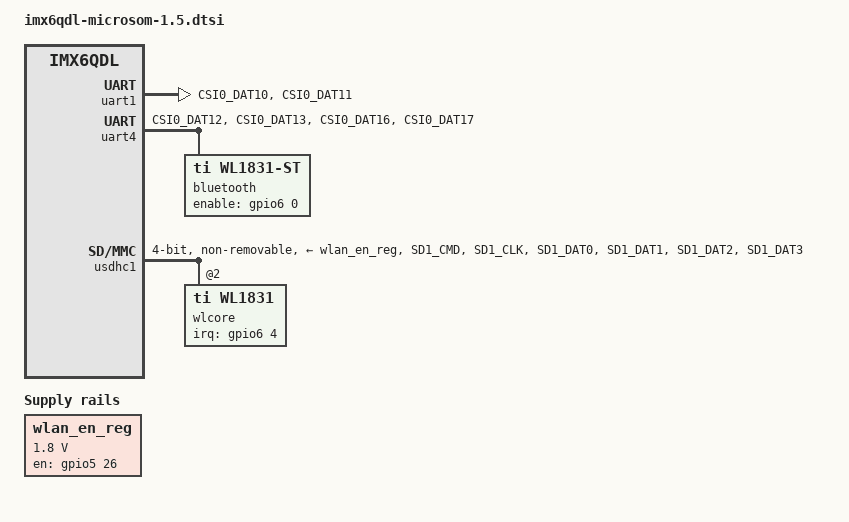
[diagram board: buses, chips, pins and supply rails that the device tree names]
/*
 * Copyright (C) 2017 Jeroen Vollenbrock <jeroen@athom.com>
 *
 * This file is dual-licensed: you can use it either under the terms
 * of the GPL or the X11 license, at your option. Note that this dual
 * licensing only applies to this file, and not this project as a
 * whole.
 *
 *	a) This file is free software; you can redistribute it and/or
 *	 modify it under the terms of the GNU General Public License
 *	 version 2 as published by the Free Software Foundation.
 *
 *	 This file is distributed in the hope that it will be useful,
 *	 but WITHOUT ANY WARRANTY; without even the implied warranty of
 *	 MERCHANTABILITY or FITNESS FOR A PARTICULAR PURPOSE.  See the
 *	 GNU General Public License for more details.
 *
 * Or, alternatively,
 *
 *	b) Permission is hereby granted, free of charge, to any person
 *	 obtaining a copy of this software and associated documentation
 *	 files (the "Software"), to deal in the Software without
 *	 restriction, including without limitation the rights to use,
 *	 copy, modify, merge, publish, distribute, sublicense, and/or
 *	 sell copies of the Software, and to permit persons to whom the
 *	 Software is furnished to do so, subject to the following
 *	 conditions:
 *
 *	 The above copyright notice and this permission notice shall be
 *	 included in all copies or substantial portions of the Software.
 *
 *	 THE SOFTWARE IS PROVIDED "AS IS", WITHOUT WARRANTY OF ANY KIND,
 *	 EXPRESS OR IMPLIED, INCLUDING BUT NOT LIMITED TO THE WARRANTIES
 *	 OF MERCHANTABILITY, FITNESS FOR A PARTICULAR PURPOSE AND
 *	 NONINFRINGEMENT. IN NO EVENT SHALL THE AUTHORS OR COPYRIGHT
 *	 HOLDERS BE LIABLE FOR ANY CLAIM, DAMAGES OR OTHER LIABILITY,
 *	 WHETHER IN AN ACTION OF CONTRACT, TORT OR OTHERWISE, ARISING
 *	 FROM, OUT OF OR IN CONNECTION WITH THE SOFTWARE OR THE USE OR
 *	 OTHER DEALINGS IN THE SOFTWARE.
 */
#include <dt-bindings/gpio/gpio.h>
/ {
	regulators {
		compatible = "simple-bus";

		wlan_en_reg: fixedregulator@2 {
			compatible = "regulator-fixed";
			
			pinctrl-names = "default";
			pinctrl-0 = <&pinctrl_microsom_tiwl_reg>;
			
			regulator-name = "wlan-en-regulator";
			regulator-min-microvolt = <1800000>;
			regulator-max-microvolt = <1800000>;
			startup-delay-us = <70000>;
	
			/* WLAN_EN GPIO for this board - Bank5, pin26 */
			gpio = <&gpio5 26 GPIO_ACTIVE_HIGH>;
			enable-active-high;
		};
	};
};

&iomuxc {
	microsom {
		pinctrl_microsom_tiwl_bt: microsom-tiwl-bt {
			fsl,pins = <
				MX6QDL_PAD_CSI0_DAT14__GPIO6_IO00		0x40013070	/* BT_ENABLE */
			>;
		};

		pinctrl_microsom_tiwl_reg: microsom-tiwl-reg {
			fsl,pins = <
				MX6QDL_PAD_GPIO_8__XTALOSC_REF_CLK_32K	0x1b0b0		/* EXT CLK */
				MX6QDL_PAD_CSI0_DAT8__GPIO5_IO26		0x40013070	/* WLAN_ENABLE */
			>;
		};
		
		pinctrl_microsom_tiwl_wifi: microsom-tiwl-wifi {
			fsl,pins = <
				MX6QDL_PAD_CSI0_DAT18__GPIO6_IO04		0x40013070	/* WLAN_IRQ */
			>;
		};

		pinctrl_microsom_uart1: microsom-uart1 {
			fsl,pins = <
				MX6QDL_PAD_CSI0_DAT10__UART1_TX_DATA	0x1b0b1
				MX6QDL_PAD_CSI0_DAT11__UART1_RX_DATA	0x1b0b1
			>;
		};

		pinctrl_microsom_uart4: microsom-uart4 {
			fsl,pins = <
				MX6QDL_PAD_CSI0_DAT12__UART4_TX_DATA	0x1b0b1
				MX6QDL_PAD_CSI0_DAT13__UART4_RX_DATA	0x1b0b1
				MX6QDL_PAD_CSI0_DAT16__UART4_RTS_B		0x1b0b1
				MX6QDL_PAD_CSI0_DAT17__UART4_CTS_B		0x1b0b1
			>;
		};

		pinctrl_microsom_usdhc1: microsom-usdhc1 {
			fsl,pins = <
				MX6QDL_PAD_SD1_CMD__SD1_CMD				0x17069
				MX6QDL_PAD_SD1_CLK__SD1_CLK				0x10069
				MX6QDL_PAD_SD1_DAT0__SD1_DATA0			0x17069
				MX6QDL_PAD_SD1_DAT1__SD1_DATA1			0x17069
				MX6QDL_PAD_SD1_DAT2__SD1_DATA2			0x17069
				MX6QDL_PAD_SD1_DAT3__SD1_DATA3			0x17069
			>;
		};
	};
};

&uart1 {
	pinctrl-names = "default";
	pinctrl-0 = <&pinctrl_microsom_uart1>;
	status = "okay";
};

/* UART4 - Connected to optional TI WL8xxx Wifi/BT */
&uart4 {
	pinctrl-names = "default";
	pinctrl-0 = <&pinctrl_microsom_uart4>;
	uart-has-rtscts;
	status = "okay";
	
	bluetooth {
		pinctrl-names = "default";
		pinctrl-0 = <&pinctrl_microsom_tiwl_bt>;
		compatible = "ti,wl1831-st";
		enable-gpios = <&gpio6 0 GPIO_ACTIVE_HIGH>; /* BT_EN */
	};
};

/* USDHC1 - Connected to optional TI WL8xxx Wifi/BT */
&usdhc1 {
	pinctrl-names = "default";
	vmmc-supply = <&wlan_en_reg>;
	pinctrl-0 = <&pinctrl_microsom_usdhc1>;
	bus-width = <4>;
	keep-power-in-suspend;
	no-1-8-v;
	non-removable;
	status = "okay";

	#address-cells = <1>;
	#size-cells = <0>;

	wlcore: wlcore@0 {
		pinctrl-names = "default";
		pinctrl-0 = <&pinctrl_microsom_tiwl_wifi>;
		compatible = "ti,wl1831";
		reg = <2>;
		interrupts = <4 IRQ_TYPE_EDGE_RISING>;
		interrupt-parent = <&gpio6>;
	};
};
